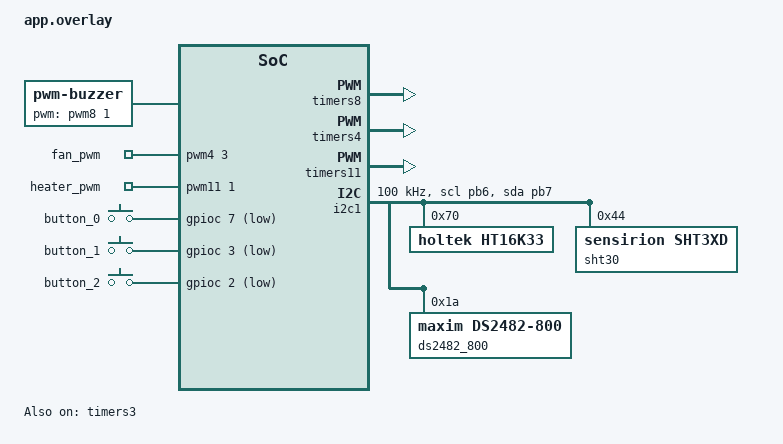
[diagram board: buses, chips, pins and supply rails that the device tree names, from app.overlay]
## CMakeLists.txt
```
cmake_minimum_required(VERSION 3.20)

set(SNIPPET cdc-acm-console)

# for global installs
find_package(Zephyr REQUIRED HINTS $ENV{ZEPHYR_BASE})

# populated the $PROJECT_NAME var and this is what the output files are named 
project(mycology_foods)

# app is a predesignated target that zephyr uses
target_sources(app PRIVATE 
    src/main.c
    src/UI/seven_seg.c
    src/UI/buzzer.c
    src/UI/buttons.c
    src/UI/dial.c
    src/sensors/sht30.c
    src/sensors/sht30_history.c
    src/sensors/ds18b20.c
    src/control/fan.c
    src/control/heater.c
    )

target_include_directories(app PRIVATE 
    inc
    inc/UI
    inc/control
    )
```

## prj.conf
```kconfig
# add desired CONFIGs here
CONFIG_GPIO=y
CONFIG_I2C=y
CONFIG_LED=y
CONFIG_PWM=y
CONFIG_W1=y
# DS2482-800 enables via DT (maxim,ds2482-800 @ 0x1a); keep W1 on.
# Use app sht30.c instead of Zephyr's in-tree SHT3XD sensor driver.
CONFIG_SHT3XD=n
# Custom buzzer Kconfig symbols are not in this Zephyr tree (app driver is plain PWM).
# CONFIG_BUZZER=y
# CONFIG_BUZZER_PWM=y
CONFIG_LOG=y
CONFIG_SENSOR=y
CONFIG_USBD_CDC_ACM_LOG_LEVEL_OFF=y
```

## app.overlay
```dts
/ {
    buzzer: buzzer {
        compatible = "pwm-buzzer";
        /* TIM8 CH1 on PC6 (Feather D6). Period is only a default; the driver changes it per tone. */
        pwms = <&pwm8 1 PWM_HZ(2700) PWM_POLARITY_NORMAL>;
    };

    pwmleds {
        compatible = "pwm-leds";
        fan_pwm: fan_pwm {
            pwms = <&pwm4 3 PWM_USEC(40) PWM_POLARITY_INVERTED>;
        };
        heater_pwm: heater_pwm {
            pwms = <&pwm11 1 PWM_MSEC(2000) PWM_POLARITY_NORMAL>;
        };
    };

    buttons {
        compatible = "gpio-keys";
        button_0: button_0 {
            gpios = <&gpioc 7 (GPIO_PULL_UP | GPIO_ACTIVE_LOW)>; // ui button, PC7 (Feather D5)
        };
        button_1: button_1 {
            gpios = <&gpioc 3 (GPIO_PULL_UP | GPIO_ACTIVE_LOW)>; // start button, PC3 (Feather D11)
        };
        button_2: button_2 {
            gpios = <&gpioc 2 (GPIO_PULL_UP | GPIO_ACTIVE_LOW)>; // mix button, PC2 (Feather D12)
        };
    };

    aliases {
        b0 = &button_0;
        b1 = &button_1;
        b2 = &button_2;
        led2 = &ext_led;
        fan-pwm = &fan_pwm;
        heater-pwm = &heater_pwm;
        ds18b20-w1 = &w1;
    };
};

&{/leds} {
    ext_led: led_2 {
        gpios = <&gpioa 4 GPIO_ACTIVE_HIGH>; // PA4 (Feather A0)
    };
};

&timers8 {
    /* TIM8 runs from the 168 MHz APB2 timer clock: 168 MHz / (99+1) = 1.68 MHz tick.
     * Good pitch resolution, and tones down to ~26 Hz still fit in the 16-bit counter. */
    st,prescaler = <99>;
    status = "okay";

    pwm8: pwm {
        pinctrl-0 = <&tim8_ch1_pc6>;   /* D6 */
        pinctrl-names = "default";
        status = "okay";
    };
};

&timers3 {
    status = "okay";

    qdec: qdec {
        status = "okay";
        pinctrl-0 = <&tim3_ch1_pa6 &tim3_ch2_pa7>;   /* A2, A3 */
        pinctrl-names = "default";
        st,input-filter-level = <FDIV32_N8>;
        st,counts-per-revolution = <24>;
    };
};

&timers4 {
    status = "okay";
    st,prescaler = <83>;   /* 84 MHz / (83+1) = 1 MHz tick */

    pwm4: pwm {
        status = "okay";
        pinctrl-0 = <&tim4_ch3_pb8>;   /* D9 */
        pinctrl-names = "default";
    };
};

&timers11 {
    status = "okay";
    st,prescaler = <83>;   /* 84 MHz / (83+1) = 1 MHz tick */

    pwm11: pwm {
        status = "okay";
        pinctrl-0 = <&tim11_ch1_pb9>;   /* D10 */
        pinctrl-names = "default";
    };
};

&i2c1 {
    status = "okay";
    /* Feather's labeled SCL/SDA pins (also the STEMMA QT port). PB8/PB9 are used by the fan PWM. */
    pinctrl-0 = <&i2c1_scl_pb6 &i2c1_sda_pb7>;
    pinctrl-names = "default";
    clock-frequency = <I2C_BITRATE_STANDARD>;   /* 100 kHz */

    ht16k33: ht16k33@70 {
        compatible = "holtek,ht16k33";
        reg = <0x70>;
    };

    /*
     * SHT30-D air temp/humidity. ADDR pin low → 0x44.
     * App driver uses I2C_DT_SPEC_GET(DT_NODELABEL(sht30)); in-tree SHT3XD is off in prj.conf.
     */
    sht30: sht30@44 {
        compatible = "sensirion,sht3xd";
        reg = <0x44>;
    };

    /*
     * DS2482-800 1-Wire bridge. AD0/AD1/AD2 straps set the I2C address;
     * A1 strapped → 0x1A (default unstrapped sample addr is 0x18).
     * Channel 0 is the W1 master used by the app DS18B20 driver.
     */
    ds2482_800: ds2482-800@1a {
        compatible = "maxim,ds2482-800";
        reg = <0x1a>;

        #address-cells = <1>;
        #size-cells = <0>;

        w1: ch@0 {
            compatible = "maxim,ds2482-800-channel";
            reg = <0>;
        };
    };
};

&tim3_ch1_pa6 { bias-pull-up; };   /* A2: encoder A */
&tim3_ch2_pa7 { bias-pull-up; };   /* A3: encoder B */
```

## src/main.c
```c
#if 0 /* UI main — restore when sensor bring-up is done */
#include <zephyr/kernel.h>
#include <zephyr/drivers/gpio.h>
#include <zephyr/drivers/pwm.h>
#include <zephyr/logging/log.h>

#include "seven_seg.h"
#include "buzzer.h"
#include "buttons.h"
#include "dial.h"
#include "fan.h"
#include "heater.h"

LOG_MODULE_REGISTER(main_thread);

static const struct device *seven_seg_dev = DEVICE_DT_GET(DT_NODELABEL(ht16k33));
static const struct device *buzzer_dev = DEVICE_DT_GET(DT_NODELABEL(buzzer));
static const struct pwm_dt_spec fan = PWM_DT_SPEC_GET(DT_ALIAS(fan_pwm));
static const struct pwm_dt_spec heater = PWM_DT_SPEC_GET(DT_ALIAS(heater_pwm));

int main(void) {
    k_sleep(K_MSEC(3000));

    clear_seven_seg(seven_seg_dev);
    char test[] = {'b','e','l','o'};
    display_seven_seg(seven_seg_dev, test, 4);
    display_seven_seg_punctuation(seven_seg_dev, 0b00001);
    // Should display: belo.

    buzzer_play_tune(buzzer_dev, done_tune, 4);
    // Should play done tune.

    init_all_buttons();
    
    int32_t fan_speed = 0;

    if (init_dial() != 0) {
        return -1;
    }

    init_fan(&fan);

    int32_t last_pos = dial_get_position();

    init_heater(&heater);

    while (1) {
        int32_t pos = dial_get_position();
        int32_t delta = pos - last_pos;
        delta = delta / 2;
        last_pos = pos;
        LOG_INF("delta = %d", delta);

        fan_speed = CLAMP(fan_speed + delta, 0, 100);
        LOG_INF("fan speed = %d", fan_speed);
        set_fan_percent(&fan, fan_speed);
        k_sleep(K_MSEC(50));
    }
    
    return 0;
}
#endif /* UI main */

#if 1
/*
 * Sensor smoke tests — enable exactly one of SHT30 / DS18B20 below.
 * DS18B20: DS2482-800 @ I2C 0x1a, channel 0 (DT_NODELABEL(w1)).
 */

#if 0 /* SHT30 history handoff */
#include <zephyr/kernel.h>
#include <zephyr/drivers/i2c.h>
#include <zephyr/logging/log.h>

#include "sensors/sht30.h"
#include "sensors/sht30_history.h"

LOG_MODULE_REGISTER(main);

static const struct i2c_dt_spec sht30_i2c = I2C_DT_SPEC_GET(DT_NODELABEL(sht30));

int main(void)
{
	struct sht30_sample sample;
	struct sht30_reading reading;

	LOG_INF("SHT30 handoff smoke test starting");
	sht30_history_init();
	sht30_history_reset();

	while (1) {
		int err = sht30_read(&sht30_i2c, SHT30_REPEAT_HIGH, &sample);

		if (err == 0) {
			sht30_history_push(&sample);

			if (sht30_history_get_latest(&reading) == 0) {
				int t = reading.newest.temp_c_x100;
				unsigned t_frac = (unsigned)((t < 0) ? -t : t) % 100;
				int at = reading.avg_temp_c_x100;
				unsigned at_frac = (unsigned)((at < 0) ? -at : at) % 100;

				LOG_INF("T=%d.%02u C  RH=%u.%02u %%  hist=%u seq=%u",
					t / 100, t_frac,
					reading.newest.rh_x100 / 100,
					reading.newest.rh_x100 % 100,
					(unsigned)sht30_history_count(),
					reading.seq);
				LOG_INF("AVG T=%d.%02u C  AVG RH=%u.%02u %%",
					at / 100, at_frac,
					reading.avg_rh_x100 / 100,
					reading.avg_rh_x100 % 100);
			}
		} else {
			LOG_ERR("sht30_read failed: %d", err);
		}

		k_msleep(1000);
	}

	return 0;
}
#endif /* SHT30 */

#if 1 /* DS18B20 — via DS2482-800 @ 0x1a, ch0 */
#include <zephyr/kernel.h>
#include <zephyr/logging/log.h>

#include "sensors/ds18b20.h"

LOG_MODULE_REGISTER(main);

static const struct device *w1 = DEVICE_DT_GET(DT_NODELABEL(w1));

int main(void)
{
	struct ds18b20_sample sample;

	LOG_INF("DS18B20 smoke test starting (DS2482-800 @ 0x1a ch0)");

	while (1) {
		int err = ds18b20_read(w1, DS18B20_RES_12BIT, &sample);

		if (err == 0) {
			int t = sample.temp_c_x100;
			unsigned t_frac = (unsigned)((t < 0) ? -t : t) % 100;

			LOG_INF("T=%d.%02u C", t / 100, t_frac);
		} else {
			LOG_ERR("ds18b20_read failed: %d", err);
		}

		k_msleep(2000);
	}

	return 0;
}
#endif /* DS18B20 */

#endif
```

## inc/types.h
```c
#ifndef TYPES_H
#define TYPES_H

#include <zephyr/device.h>

typedef struct {
    volatile bool limit_switch_state;
} mcu_t;

extern mcu_t mcu;

#endif
```
